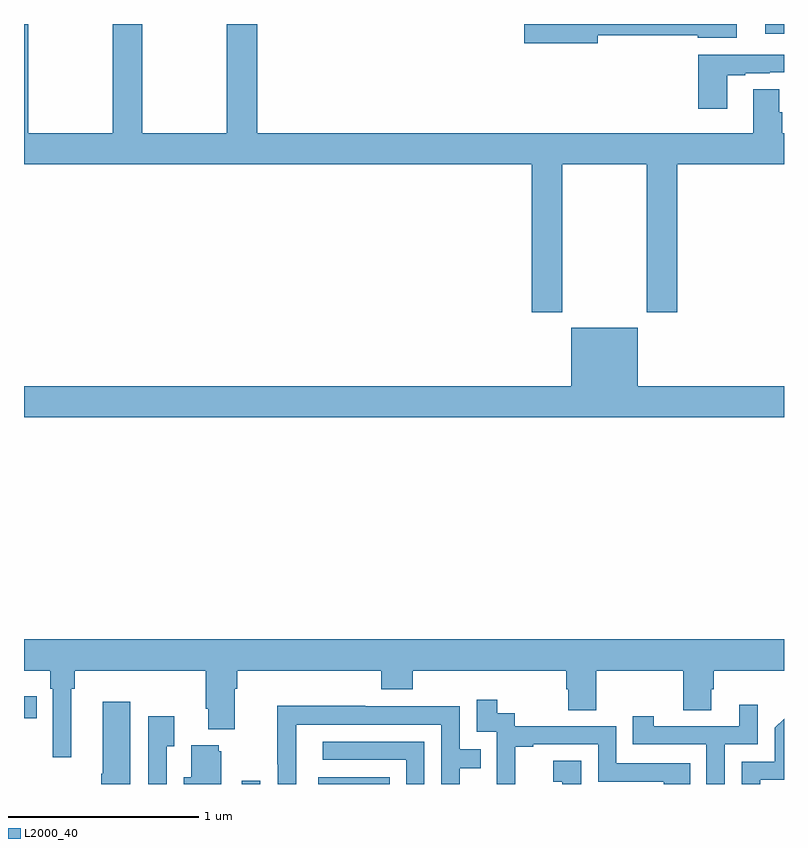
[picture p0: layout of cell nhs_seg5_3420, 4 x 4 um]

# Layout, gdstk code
import gdstk
lib = gdstk.Library(unit=1e-6, precision=1e-09)
def R(c, l, rs):  # rectangles x0, y0, x1, y1
    for r in rs: c.add(gdstk.rectangle(r[:2], r[2:], *l))
def P(c, l, *ps):  # polygons
    for p in ps: c.add(gdstk.Polygon(p, *l))
L2000_40 = (2000, 40)

nhs_seg5_3420 = lib.new_cell('nhs_seg5_3420')
R(nhs_seg5_3420, L2000_40, [(312.147,886.799,312.243,886.816), (312.548,886.799,312.926,886.834), (311,887.146,311.066,887.262), (314.9,890.747,315,890.799)])
P(nhs_seg5_3420, L2000_40, [(313.833,890.06),(314.278,890.06),(314.278,889.281),(314.438,889.281),(314.438,890.06),(315,890.06),(315,890.224),(314.99,890.224),(314.99,890.334),(314.976,890.334),(314.976,890.456),(314.837,890.456),(314.837,890.224),(312.227,890.224),(312.227,890.799),(312.067,890.799),(312.067,890.224),(311.622,890.224),(311.622,890.799),(311.467,890.799),(311.467,890.224),(311.022,890.224),(311.022,890.799),(311,890.799),(311,890.06),(313.673,890.06),(313.673,889.281),(313.833,889.281)],
  [(314.02,890.74),(314.546,890.74),(314.546,890.726),(314.752,890.726),(314.752,890.799),(313.632,890.799),(313.632,890.698),(314.02,890.698)],
  [(314.701,890.529),(314.797,890.529),(314.797,890.541),(314.924,890.541),(314.924,890.544),(315,890.544),(315,890.638),(314.549,890.638),(314.549,890.352),(314.701,890.352)],
  [(315,888.892),(314.23,888.892),(314.23,889.201),(313.88,889.201),(313.88,888.892),(311,888.892),(311,888.728),(315,888.728)],
  [(311.248,887.3),(311.267,887.3),(311.267,887.396),(311.957,887.396),(311.957,887.194),(311.969,887.194),(311.969,887.087),(312.109,887.087),(312.109,887.3),(312.122,887.3),(312.122,887.396),(312.881,887.396),(312.881,887.297),(313.046,887.297),(313.046,887.396),(313.853,887.396),(313.853,887.298),(313.865,887.298),(313.865,887.188),(314.013,887.188),(314.013,887.396),(314.47,887.396),(314.47,887.188),(314.617,887.188),(314.617,887.298),(314.63,887.298),(314.63,887.396),(315,887.396),(315,887.56),(311,887.56),(311,887.396),(311.138,887.396),(311.138,887.3),(311.151,887.3),(311.151,886.941),(311.248,886.941)],
  [(313.586,886.995),(313.681,886.995),(313.681,887.007),(314.022,887.007),(314.022,886.812),(314.367,886.812),(314.367,886.799),(314.507,886.799),(314.507,886.908),(314.118,886.908),(314.118,887.103),(313.584,887.103),(313.584,887.172),(313.492,887.172),(313.492,887.242),(313.383,887.242),(313.383,887.073),(313.488,887.073),(313.488,886.844),(313.487,886.844),(313.487,886.799),(313.586,886.799)],
  [(311.56,887.233),(311.414,887.233),(311.414,886.853),(311.407,886.853),(311.407,886.799),(311.56,886.799)],
  [(314.688,887.007),(314.862,887.007),(314.862,887.215),(314.765,887.215),(314.765,887.103),(314.314,887.103),(314.314,887.155),(314.203,887.155),(314.203,887.007),(314.592,887.007),(314.592,886.799),(314.688,886.799)],
  [(312.432,887.112),(313.197,887.112),(313.197,886.799),(313.293,886.799),(313.293,886.882),(313.403,886.882),(313.403,886.983),(313.293,886.983),(313.293,887.208),(312.797,887.208),(312.797,887.21),(312.334,887.21),(312.334,886.903),(312.336,886.903),(312.336,886.799),(312.432,886.799)],
  [(311.751,886.999),(311.791,886.999),(311.791,887.155),(311.655,887.155),(311.655,886.799),(311.751,886.799)],
  [(314.875,886.821),(315,886.821),(315,887.142),(314.952,887.094),(314.952,886.917),(314.778,886.917),(314.778,886.799),(314.875,886.799)],
  [(313.107,887.022),(312.573,887.022),(312.573,886.926),(313.011,886.926),(313.011,886.799),(313.107,886.799)],
  [(312.037,886.971),(312.026,886.971),(312.026,887.002),(311.879,887.002),(311.879,886.834),(311.84,886.834),(311.84,886.799),(312.037,886.799)],
  [(313.932,886.921),(313.785,886.921),(313.785,886.811),(313.834,886.811),(313.834,886.799),(313.932,886.799)])

lib.write_gds('nhs_seg5_3420.gds')
